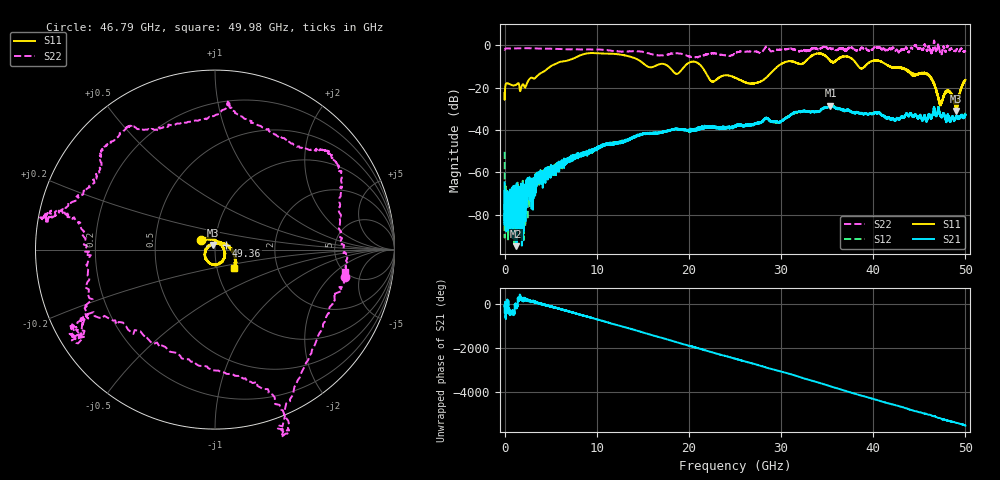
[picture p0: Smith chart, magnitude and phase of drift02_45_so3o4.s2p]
!Created with skrf (http://scikit-rf.org).
# Hz S RI R 50.0
!freq ReS11 ImS11 ReS21 ImS21 ReS12 ImS12 ReS22 ImS22
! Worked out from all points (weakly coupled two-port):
!   10001 points, 300 kHz to 50 GHz, reference 50 ohm
!   highest |S21| = -28.54 dB at 35.36 GHz (marker M1); lowest = -94.9 dB at 1.2 GHz (marker M2)
!   lowest |S11| = -31.0 dB at 49.02 GHz (marker M3), VSWR 1.06, Z = 48.8 + j2.48 ohm
!   |S11| at or under -10 dB: start of sweep to 4.957 GHz; 21.38 GHz to 29.63 GHz (8.251 GHz wide, 32.4 % of centre); 41.81 GHz to end of sweep (the widest 3 of 9)
!   |S22| runs from -5.7 to 2.3 dB; largest |S21 - S12| = 0.0036
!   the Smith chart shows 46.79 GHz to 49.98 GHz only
!   S11 on the Smith chart (normalised r, x): 46.79 GHz: 0.85, +0.09; 49.36 GHz: 1.13, +0.05; 49.98 GHz: 1.21, -0.26
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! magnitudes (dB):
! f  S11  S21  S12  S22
! 300 kHz  -22.5  -64.8  -50.3  -2.1
! 255.3 MHz  -17.9  -75.1  -74.5  -1.4
! 1.2 GHz  -18.7  -94.9  -74.0  -1.4
! 8.335 GHz  -4.5  -51.7  -51.7  -1.9
! 16.67 GHz  -9.1  -41.3  -41.4  -4.7
! 18.7 GHz  -13.5  -39.8  -39.5  -3.7
! 20.6 GHz  -7.7  -40.1  -39.7  -5.7
! 22.5 GHz  -17.1  -39.0  -38.6  -3.7
! 25 GHz  -15.3  -38.3  -38.0  -3.9
! 27.47 GHz  -17.6  -36.7  -36.6  -3.2
! 30.22 GHz  -8.3  -35.5  -35.1  -2.0
! 33.34 GHz  -4.9  -31.5  -31.3  -1.6
! 35.36 GHz  -7.3  -28.5  -28.7  -1.4
! 41.67 GHz  -9.6  -34.1  -34.1  -1.9
! 45.78 GHz  -13.3  -35.6  -35.6  -1.9
! 46.79 GHz  -20.7  -33.1  -33.1  -2.6
! 47.28 GHz  -27.4  -32.8  -32.8  -3.4
! 48.14 GHz  -21.7  -33.3  -33.0  -0.8
! 49.02 GHz  -31.0  -33.8  -34.0  -2.0
! 49.36 GHz  -23.5  -34.1  -34.3  -2.7
! 49.98 GHz  -16.5  -33.1  -32.9  -2.7
! 50 GHz  -16.3  -32.8  -33.1  -2.7
